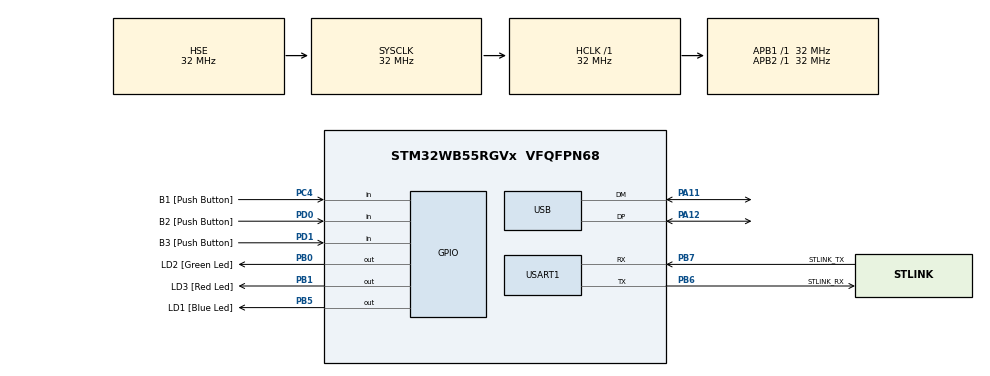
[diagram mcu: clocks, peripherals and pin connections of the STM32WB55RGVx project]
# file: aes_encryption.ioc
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Mcu.Family=STM32WB
Mcu.Name=STM32WB55RGVx
Mcu.Package=VFQFPN68
NVIC.PriorityGroup=NVIC_PRIORITYGROUP_4
OSC_IN.Mode=HSE-External-Oscillator
OSC_IN.Signal=RCC_OSC_IN
OSC_OUT.Mode=HSE-External-Oscillator
OSC_OUT.Signal=RCC_OSC_OUT
PA11.Mode=Device
PA11.Signal=USB_DM
PA12.Mode=Device
PA12.Signal=USB_DP
PA13.GPIO_Label=JTMS
PA13.Mode=Trace_Asynchronous_SW
PA13.Signal=SYS_JTMS-SWDIO
PA14.GPIO_Label=JTCK
PA14.Mode=Trace_Asynchronous_SW
PA14.Signal=SYS_JTCK-SWCLK
PB0.GPIO_Label=LD2 [Green Led]
PB0.Signal=GPIO_Output
PB1.GPIO_Label=LD3 [Red Led]
PB1.Signal=GPIO_Output
PB3.GPIO_Label=JTDO
PB3.Mode=Trace_Asynchronous_SW
PB3.Signal=SYS_JTDO-SWO
PB5.GPIO_Label=LD1 [Blue Led]
PB5.Signal=GPIO_Output
PB6.GPIO_Label=STLINK_RX
PB6.GPIO_PuPd=GPIO_PULLUP
PB6.Mode=Asynchronous
PB6.Signal=USART1_TX
PB7.GPIO_Label=STLINK_TX
PB7.GPIO_PuPd=GPIO_PULLUP
PB7.Mode=Asynchronous
PB7.Signal=USART1_RX
PC13.Mode=SYS_WakeUp1
PC13.Signal=SYS_WKUP2
PC14-OSC32_IN.Mode=LSE-External-Oscillator
PC14-OSC32_IN.Signal=RCC_OSC32_IN
PC15-OSC32_OUT.Mode=LSE-External-Oscillator
PC15-OSC32_OUT.Signal=RCC_OSC32_OUT
PC4.GPIO_Label=B1 [Push Button]
PC4.Signal=GPIO_Input
PD0.GPIO_Label=B2 [Push Button]
PD0.Signal=GPIO_Input
PD1.GPIO_Label=B3 [Push Button]
PD1.Signal=GPIO_Input
ProjectManager.HeapSize=0x200
ProjectManager.StackSize=0x400
ProjectManager.TargetToolchain=STM32CubeIDE
RCC.ADCFreq_Value=48000000
RCC.AHBFreq_Value=32000000
RCC.APB1Freq_Value=32000000
RCC.APB1TimFreq_Value=32000000
RCC.APB2Freq_Value=32000000
RCC.APB2TimFreq_Value=32000000
RCC.APB3Freq_Value=16000000
RCC.CortexFreq_Value=32000000
RCC.HCLKFreq_Value=32000000
RCC.HSE_VALUE=32000000
RCC.HSI48_VALUE=48000000
RCC.HSI_VALUE=16000000
RCC.LSE_Drive_Capability=RCC_LSEDRIVE_LOW
RCC.PLLN=32
RCC.PLLSAI1N=24
RCC.SMPSCLockSelectionVirtual=RCC_SMPSCLKSOURCE_HSI
RCC.SMPSCLockSelectionVirtualVirtual=RCC_SMPSCLKSOURCE_HSI
RCC.SMPSDivider=1
RCC.SYSCLKFreq_VALUE=32000000
RCC.SYSCLKSource=RCC_SYSCLKSOURCE_HSE
RCC.USBFreq_Value=48000000
RCC.VCOOutputFreq_Value=128000000
USART1.VirtualMode-Asynchronous=VM_ASYNC
USART1.WordLength=WORDLENGTH_7B
VP_MEMORYMAP_VS_MEMORYMAP.Mode=CurAppReg
board=NUCLEO-WB55RG

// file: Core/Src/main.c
/* USER CODE BEGIN Header */
/**
 ******************************************************************************
 * @file           : main.c
 * @brief          : Main program body
 ******************************************************************************
 * @attention
 *
 * Copyright (c) 2025 STMicroelectronics.
 * All rights reserved.
 *
 * This software is licensed under terms that can be found in the LICENSE file
 * in the root directory of this software component.
 * If no LICENSE file comes with this software, it is provided AS-IS.
 *
 ******************************************************************************
 */
/* USER CODE END Header */
#include "main.h"

UART_HandleTypeDef huart1;

PCD_HandleTypeDef hpcd_USB_FS;

void SystemClock_Config(void);
void PeriphCommonClock_Config(void);
static void MX_GPIO_Init(void);
static void MX_USART1_UART_Init(void);
static void MX_USB_PCD_Init(void);

/* USER CODE BEGIN 0 */

int _write(int file, char *ptr, int len) {
	int DataIdx;
	for (DataIdx = 0; DataIdx < len; DataIdx++) {
		//__io_putchar(*ptr++);
		ITM_SendChar(*ptr++);
	}
	return len;
}

/* USER CODE END 0 */

int main(void)
{

  /* MCU Configuration--------------------------------------------------------*/

  /* Reset of all peripherals, Initializes the Flash interface and the Systick. */
  HAL_Init();

  /* Configure the system clock */
  SystemClock_Config();

/* Configure the peripherals common clocks */
  PeriphCommonClock_Config();

  /* Initialize all configured peripherals */
  MX_GPIO_Init();
  MX_USART1_UART_Init();
  MX_USB_PCD_Init();
  /* USER CODE BEGIN 2 */

/*
  uint8_t txt[] = {0x19, 0x3d, 0xe3, 0xbe, 0xa0, 0xf4, 0xe2, 0x2b, 0x9a, 0xc6, 0x8d, 0x2a, 0xe9, 0xf8, 0x48, 0x08 };
  uint8_t k[] = {0xa0, 0xfa, 0xfe, 0x17, 0x88, 0x54, 0x2c, 0xb1, 0x23, 0xa3, 0x39, 0x39, 0x2a, 0x6c, 0x76, 0x05 };

	printf(" Le message original est :\n");
	for(int i=0; i<16; i++){
			printf(" %x ", txt[i]);
	}
	printf("\n\n");

	//step by step Chiffrement
	printf("Chiffrement :\n");
	subBytes(txt);
	printf("Apres subBytes :\n");
	for(int i=0; i<16; i++){
			printf(" %x ", txt[i]);
	}
	printf("\n");

	shiftRows(txt);
	printf("Apres shiftRows :\n");
	for(int i=0; i<16; i++){
			printf(" %x ", txt[i]);
	}
	printf("\n");

	mixColumns(txt);
	printf("Apres mixColumns :\n");
	for(int i=0; i<16; i++){
			printf(" %x ", txt[i]);
	}
	printf("\n");

	add_round_key(txt, k, 0);
	printf("Apres addRound key :\n");
	for(int i=0; i<16; i++){
			printf(" %x ", txt[i]);
	}
	printf("\n\n");

	//step by step dechiffrement
	printf("Dechiffrement :\n");
	add_round_key(txt, k, 0);
	printf("Apres addRound key :\n");
	for(int i=0; i<16; i++){
			printf(" %x ", txt[i]);
	}
	printf("\n");

	inv_mix_columns(txt);
	printf("Apres inv_mixColumns :\n");
	for(int i=0; i<16; i++){
			printf(" %x ", txt[i]);
	}
	printf("\n");

	inv_shift_rows(txt);
	printf("Apres inv_shiftRows :\n");
	for(int i=0; i<16; i++){
			printf(" %x ", txt[i]);
	}
	printf("\n");

	inv_sub_bytes(txt);
	printf("Apres inv_subBytes :\n");
	for(int i=0; i<16; i++){
			printf(" %x ", txt[i]);
	}
	printf("\n");
*/

	uint8_t txt[] = { 0x32, 0x43, 0xf6, 0xa8, 0x88, 0x5a, 0x30, 0x8d, 0x31,
			0x31, 0x98, 0xa2, 0xe0, 0x37, 0x07, 0x34 };
	uint8_t key[] = { 0x2b, 0x7e, 0x15, 0x16, 0x28, 0xae, 0xd2, 0xa6, 0xab,
			0xf7, 0x15, 0x88, 0x09, 0xcf, 0x4f, 0x3c };

	printf(" Le message original est :\n");
	for(int i=0; i<16; i++){
			printf(" %x ", txt[i]);
	}
	printf("\n");

	//chiffrement
	uint8_t *newk = malloc(174 * sizeof(uint8_t));
	key_expansion(key, newk);

	uint8_t *out = malloc(16 * sizeof(uint8_t));
	aes_cipher(txt, out, newk);

	printf(" Le message chiffre est :\n");
	for(int i=0; i<16; i++){
		printf(" %x ", out[i]);
	}
	printf("\n");

	//dechiffrement
	uint8_t *dec = malloc(16 * sizeof(uint8_t));
	aes_inv_cipher(out,dec,newk);

	printf("Le message dechiffre est :\n");
	for(int i=0; i<16; i++){
			printf(" %x ", dec[i]);
	}
	printf("\n");

  /* USER CODE END 2 */

  /* Infinite loop */
	while (1) {

	}
}

void SystemClock_Config(void)
{
  RCC_OscInitTypeDef RCC_OscInitStruct = {0};
  RCC_ClkInitTypeDef RCC_ClkInitStruct = {0};

  /** Macro to configure the PLL multiplication factor
  */
  __HAL_RCC_PLL_PLLM_CONFIG(RCC_PLLM_DIV1);

  /** Macro to configure the PLL clock source
  */
  __HAL_RCC_PLL_PLLSOURCE_CONFIG(RCC_PLLSOURCE_MSI);

  /** Configure LSE Drive Capability
  */
  HAL_PWR_EnableBkUpAccess();
  __HAL_RCC_LSEDRIVE_CONFIG(RCC_LSEDRIVE_LOW);

  /** Configure the main internal regulator output voltage
  */
  __HAL_PWR_VOLTAGESCALING_CONFIG(PWR_REGULATOR_VOLTAGE_SCALE1);

  /** Initializes the RCC Oscillators according to the specified parameters
  * in the RCC_OscInitTypeDef structure.
  */
  RCC_OscInitStruct.OscillatorType = RCC_OSCILLATORTYPE_HSI|RCC_OSCILLATORTYPE_HSE
                              |RCC_OSCILLATORTYPE_LSE|RCC_OSCILLATORTYPE_MSI;
  RCC_OscInitStruct.HSEState = RCC_HSE_ON;
  RCC_OscInitStruct.LSEState = RCC_LSE_ON;
  RCC_OscInitStruct.HSIState = RCC_HSI_ON;
  RCC_OscInitStruct.MSIState = RCC_MSI_ON;
  RCC_OscInitStruct.HSICalibrationValue = RCC_HSICALIBRATION_DEFAULT;
  RCC_OscInitStruct.MSICalibrationValue = RCC_MSICALIBRATION_DEFAULT;
  RCC_OscInitStruct.MSIClockRange = RCC_MSIRANGE_6;
  RCC_OscInitStruct.PLL.PLLState = RCC_PLL_NONE;
  if (HAL_RCC_OscConfig(&RCC_OscInitStruct) != HAL_OK)
  {
    Error_Handler();
  }

  /** Configure the SYSCLKSource, HCLK, PCLK1 and PCLK2 clocks dividers
  */
  RCC_ClkInitStruct.ClockType = RCC_CLOCKTYPE_HCLK4|RCC_CLOCKTYPE_HCLK2
                              |RCC_CLOCKTYPE_HCLK|RCC_CLOCKTYPE_SYSCLK
                              |RCC_CLOCKTYPE_PCLK1|RCC_CLOCKTYPE_PCLK2;
  RCC_ClkInitStruct.SYSCLKSource = RCC_SYSCLKSOURCE_HSE;
  RCC_ClkInitStruct.AHBCLKDivider = RCC_SYSCLK_DIV1;
  RCC_ClkInitStruct.APB1CLKDivider = RCC_HCLK_DIV1;
  RCC_ClkInitStruct.APB2CLKDivider = RCC_HCLK_DIV1;
  RCC_ClkInitStruct.AHBCLK2Divider = RCC_SYSCLK_DIV1;
  RCC_ClkInitStruct.AHBCLK4Divider = RCC_SYSCLK_DIV1;

  if (HAL_RCC_ClockConfig(&RCC_ClkInitStruct, FLASH_LATENCY_1) != HAL_OK)
  {
    Error_Handler();
  }

  /** Enable MSI Auto calibration
  */
  HAL_RCCEx_EnableMSIPLLMode();
}

void PeriphCommonClock_Config(void)
{
  RCC_PeriphCLKInitTypeDef PeriphClkInitStruct = {0};

  /** Initializes the peripherals clock
  */
  PeriphClkInitStruct.PeriphClockSelection = RCC_PERIPHCLK_SMPS;
  PeriphClkInitStruct.SmpsClockSelection = RCC_SMPSCLKSOURCE_HSI;
  PeriphClkInitStruct.SmpsDivSelection = RCC_SMPSCLKDIV_RANGE0;

  if (HAL_RCCEx_PeriphCLKConfig(&PeriphClkInitStruct) != HAL_OK)
  {
    Error_Handler();
  }
}

static void MX_USART1_UART_Init(void)
{

  huart1.Instance = USART1;
  huart1.Init.BaudRate = 115200;
  huart1.Init.WordLength = UART_WORDLENGTH_7B;
  huart1.Init.StopBits = UART_STOPBITS_1;
  huart1.Init.Parity = UART_PARITY_NONE;
  huart1.Init.Mode = UART_MODE_TX_RX;
  huart1.Init.HwFlowCtl = UART_HWCONTROL_NONE;
  huart1.Init.OverSampling = UART_OVERSAMPLING_16;
  huart1.Init.OneBitSampling = UART_ONE_BIT_SAMPLE_DISABLE;
  huart1.Init.ClockPrescaler = UART_PRESCALER_DIV1;
  huart1.AdvancedInit.AdvFeatureInit = UART_ADVFEATURE_NO_INIT;
  if (HAL_UART_Init(&huart1) != HAL_OK)
  {
    Error_Handler();
  }
  if (HAL_UARTEx_SetTxFifoThreshold(&huart1, UART_TXFIFO_THRESHOLD_1_8) != HAL_OK)
  {
    Error_Handler();
  }
  if (HAL_UARTEx_SetRxFifoThreshold(&huart1, UART_RXFIFO_THRESHOLD_1_8) != HAL_OK)
  {
    Error_Handler();
  }
  if (HAL_UARTEx_DisableFifoMode(&huart1) != HAL_OK)
  {
    Error_Handler();
  }

}

static void MX_USB_PCD_Init(void)
{

  hpcd_USB_FS.Instance = USB;
  hpcd_USB_FS.Init.dev_endpoints = 8;
  hpcd_USB_FS.Init.speed = PCD_SPEED_FULL;
  hpcd_USB_FS.Init.phy_itface = PCD_PHY_EMBEDDED;
  hpcd_USB_FS.Init.Sof_enable = DISABLE;
  hpcd_USB_FS.Init.low_power_enable = DISABLE;
  hpcd_USB_FS.Init.lpm_enable = DISABLE;
  hpcd_USB_FS.Init.battery_charging_enable = DISABLE;
  if (HAL_PCD_Init(&hpcd_USB_FS) != HAL_OK)
  {
    Error_Handler();
  }

}

static void MX_GPIO_Init(void)
{
  GPIO_InitTypeDef GPIO_InitStruct = {0};

  /* GPIO Ports Clock Enable */
  __HAL_RCC_GPIOC_CLK_ENABLE();
  __HAL_RCC_GPIOB_CLK_ENABLE();
  __HAL_RCC_GPIOA_CLK_ENABLE();
  __HAL_RCC_GPIOD_CLK_ENABLE();

  /*Configure GPIO pin Output Level */
  HAL_GPIO_WritePin(GPIOB, LD2_Pin|LD3_Pin|LD1_Pin, GPIO_PIN_RESET);

  /*Configure GPIO pin : B1_Pin */
  GPIO_InitStruct.Pin = B1_Pin;
  GPIO_InitStruct.Mode = GPIO_MODE_INPUT;
  GPIO_InitStruct.Pull = GPIO_NOPULL;
  HAL_GPIO_Init(B1_GPIO_Port, &GPIO_InitStruct);

  /*Configure GPIO pins : LD2_Pin LD3_Pin LD1_Pin */
  GPIO_InitStruct.Pin = LD2_Pin|LD3_Pin|LD1_Pin;
  GPIO_InitStruct.Mode = GPIO_MODE_OUTPUT_PP;
  GPIO_InitStruct.Pull = GPIO_NOPULL;
  GPIO_InitStruct.Speed = GPIO_SPEED_FREQ_LOW;
  HAL_GPIO_Init(GPIOB, &GPIO_InitStruct);

  /*Configure GPIO pins : B2_Pin B3_Pin */
  GPIO_InitStruct.Pin = B2_Pin|B3_Pin;
  GPIO_InitStruct.Mode = GPIO_MODE_INPUT;
  GPIO_InitStruct.Pull = GPIO_NOPULL;
  HAL_GPIO_Init(GPIOD, &GPIO_InitStruct);

}

void Error_Handler(void)
{
	__disable_irq();
	while (1) {
	}
}
